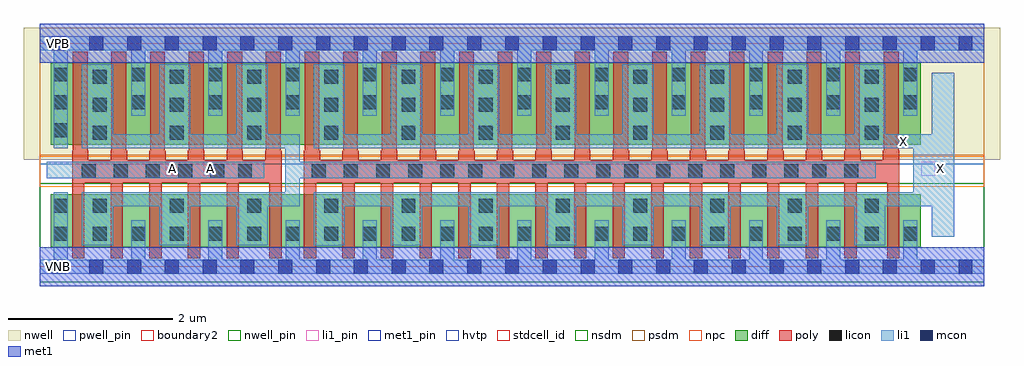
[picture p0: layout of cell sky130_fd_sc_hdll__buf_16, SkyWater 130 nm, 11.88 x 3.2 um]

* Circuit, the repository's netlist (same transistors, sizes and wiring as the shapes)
* Copyright 2020 The SkyWater PDK Authors
*
* Licensed under the Apache License, Version 2.0 (the "License");
* you may not use this file except in compliance with the License.
* You may obtain a copy of the License at
*
*     https://www.apache.org/licenses/LICENSE-2.0
*
* Unless required by applicable law or agreed to in writing, software
* distributed under the License is distributed on an "AS IS" BASIS,
* WITHOUT WARRANTIES OR CONDITIONS OF ANY KIND, either express or implied.
* See the License for the specific language governing permissions and
* limitations under the License.
*
* SPDX-License-Identifier: Apache-2.0

.SUBCKT sky130_fd_sc_hdll__buf_16 A VGND VNB VPB VPWR X
*.PININFO A:I VGND:I VNB:I VPB:I VPWR:I X:O
MMIN1 Ab A VGND VNB sky130_fd_pr__nfet_01v8 m=6 w=0.65U l=0.15U mult=1 sa=0.265
+ sb=0.265 sd=0.28 area=0.063 perim=1.14
MMIN2 X Ab VGND VNB sky130_fd_pr__nfet_01v8 m=16 w=0.65U l=0.15U mult=1 sa=0.265
+ sb=0.265 sd=0.28 area=0.063 perim=1.14
MMIP1 Ab A VPWR VPB sky130_fd_pr__pfet_01v8_hvt m=6 w=1.0U l=0.18U mult=1 sa=0.265
+ sb=0.265 sd=0.28 area=0.063 perim=1.14
MMIP2 X Ab VPWR VPB sky130_fd_pr__pfet_01v8_hvt m=16 w=1.0U l=0.18U mult=1 sa=0.265
+ sb=0.265 sd=0.28 area=0.063 perim=1.14
.ENDS sky130_fd_sc_hdll__buf_16

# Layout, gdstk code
import gdstk
lib = gdstk.Library(unit=1e-6, precision=1e-09)
def R(c, l, rs):  # rectangles x0, y0, x1, y1
    for r in rs: c.add(gdstk.rectangle(r[:2], r[2:], *l))
def A(c, l, x, y, w, h, nx, ny, dx, dy):  # array of equal rectangles
    R(c, l, [(x+i*dx, y+j*dy, x+i*dx+w, y+j*dy+h) for i in range(nx) for j in range(ny)])
def P(c, l, *ps):  # polygons
    for p in ps: c.add(gdstk.Polygon(p, *l))
nwell_pin = (64, 16)
nwell = (64, 20)
diff = (65, 20)
poly = (66, 20)
licon = (66, 44)
li1_pin = (67, 16)
li1 = (67, 20)
mcon = (67, 44)
met1_pin = (68, 16)
met1 = (68, 20)
hvtp = (78, 44)
stdcell_id = (81, 4)
nsdm = (93, 44)
psdm = (94, 20)
npc = (95, 20)
pwell_pin = (122, 16)
boundary2 = (236, 0)

sky130_fd_sc_hdll__buf_1 = lib.new_cell('sky130_fd_sc_hdll__buf_16')
R(sky130_fd_sc_hdll__buf_1, nwell_pin, [(0.15,2.635,0.32,2.805)])
R(sky130_fd_sc_hdll__buf_1, nwell, [(-0.19,1.305,11.69,2.91)])
R(sky130_fd_sc_hdll__buf_1, diff, [(0.135,0.235,10.725,0.885), (0.135,1.485,10.725,2.485)])
P(sky130_fd_sc_hdll__buf_1, poly, [(2.945,1.41),(2.935,1.41),(2.935,2.615),(2.755,2.615),(2.755,1.41),(2.745,1.41),(2.745,1.295),(2.475,1.295),(2.475,1.41),(2.465,1.41),(2.465,2.615),(2.285,2.615),(2.285,1.41),(2.275,1.41),(2.275,1.295),(2.005,1.295),(2.005,1.41),(1.995,1.41),(1.995,2.615),(1.815,2.615),(1.815,1.41),(1.805,1.41),(1.805,1.295),(1.535,1.295),(1.535,1.41),(1.525,1.41),(1.525,2.615),(1.345,2.615),(1.345,1.41),(1.335,1.41),(1.335,1.295),(1.065,1.295),(1.065,1.41),(1.055,1.41),(1.055,2.615),(0.875,2.615),(0.875,1.41),(0.865,1.41),(0.865,1.295),(0.595,1.295),(0.595,1.41),(0.585,1.41),(0.585,2.615),(0.405,2.615),(0.405,1.41),(0.395,1.41),(0.395,0.105),(0.545,0.105),(0.545,1.025),(0.865,1.025),(0.865,0.105),(1.015,0.105),(1.015,1.025),(1.335,1.025),(1.335,0.105),(1.485,0.105),(1.485,1.025),(1.805,1.025),(1.805,0.105),(1.955,0.105),(1.955,1.025),(2.275,1.025),(2.275,0.105),(2.425,0.105),(2.425,1.025),(2.795,1.025),(2.795,0.105),(2.945,0.105)],
  [(10.465,1.41),(10.455,1.41),(10.455,2.615),(10.275,2.615),(10.275,1.41),(10.265,1.41),(10.265,1.295),(9.995,1.295),(9.995,1.41),(9.985,1.41),(9.985,2.615),(9.805,2.615),(9.805,1.41),(9.795,1.41),(9.795,1.295),(9.525,1.295),(9.525,1.41),(9.515,1.41),(9.515,2.615),(9.335,2.615),(9.335,1.41),(9.325,1.41),(9.325,1.295),(9.055,1.295),(9.055,1.41),(9.045,1.41),(9.045,2.615),(8.865,2.615),(8.865,1.41),(8.855,1.41),(8.855,1.295),(8.585,1.295),(8.585,1.41),(8.575,1.41),(8.575,2.615),(8.395,2.615),(8.395,1.41),(8.385,1.41),(8.385,1.295),(8.115,1.295),(8.115,1.41),(8.105,1.41),(8.105,2.615),(7.925,2.615),(7.925,1.41),(7.915,1.41),(7.915,1.295),(7.645,1.295),(7.645,1.41),(7.635,1.41),(7.635,2.615),(7.455,2.615),(7.455,1.41),(7.445,1.41),(7.445,1.295),(7.175,1.295),(7.175,1.41),(7.165,1.41),(7.165,2.615),(6.985,2.615),(6.985,1.41),(6.975,1.41),(6.975,1.295),(6.705,1.295),(6.705,1.41),(6.695,1.41),(6.695,2.615),(6.515,2.615),(6.515,1.41),(6.505,1.41),(6.505,1.295),(6.235,1.295),(6.235,1.41),(6.225,1.41),(6.225,2.615),(6.045,2.615),(6.045,1.41),(6.035,1.41),(6.035,1.295),(5.765,1.295),(5.765,1.41),(5.755,1.41),(5.755,2.615),(5.575,2.615),(5.575,1.41),(5.565,1.41),(5.565,1.295),(5.295,1.295),(5.295,1.41),(5.285,1.41),(5.285,2.615),(5.105,2.615),(5.105,1.41),(5.095,1.41),(5.095,1.295),(4.825,1.295),(4.825,1.41),(4.815,1.41),(4.815,2.615),(4.635,2.615),(4.635,1.41),(4.625,1.41),(4.625,1.295),(4.355,1.295),(4.355,1.41),(4.345,1.41),(4.345,2.615),(4.165,2.615),(4.165,1.41),(4.155,1.41),(4.155,1.295),(3.885,1.295),(3.885,1.41),(3.875,1.41),(3.875,2.615),(3.695,2.615),(3.695,1.41),(3.685,1.41),(3.685,1.295),(3.415,1.295),(3.415,1.41),(3.405,1.41),(3.405,2.615),(3.225,2.615),(3.225,1.41),(3.215,1.41),(3.215,0.105),(3.365,0.105),(3.365,1.025),(3.685,1.025),(3.685,0.105),(3.835,0.105),(3.835,1.025),(4.155,1.025),(4.155,0.105),(4.305,0.105),(4.305,1.025),(4.625,1.025),(4.625,0.105),(4.775,0.105),(4.775,1.025),(5.095,1.025),(5.095,0.105),(5.245,0.105),(5.245,1.025),(5.565,1.025),(5.565,0.105),(5.715,0.105),(5.715,1.025),(6.035,1.025),(6.035,0.105),(6.185,0.105),(6.185,1.025),(6.505,1.025),(6.505,0.105),(6.655,0.105),(6.655,1.025),(6.975,1.025),(6.975,0.105),(7.125,0.105),(7.125,1.025),(7.445,1.025),(7.445,0.105),(7.595,0.105),(7.595,1.025),(7.915,1.025),(7.915,0.105),(8.065,0.105),(8.065,1.025),(8.385,1.025),(8.385,0.105),(8.535,0.105),(8.535,1.025),(8.855,1.025),(8.855,0.105),(9.005,0.105),(9.005,1.025),(9.325,1.025),(9.325,0.105),(9.475,0.105),(9.475,1.025),(9.795,1.025),(9.795,0.105),(9.945,0.105),(9.945,1.025),(10.315,1.025),(10.315,0.105),(10.465,0.105)])
A(sky130_fd_sc_hdll__buf_1, licon, 0.175, 0.315, 0.17, 0.17, 23, 1, 0.47, 0)
A(sky130_fd_sc_hdll__buf_1, licon, 0.645, 0.655, 0.17, 0.17, 11, 2, 0.94, 0.89)
A(sky130_fd_sc_hdll__buf_1, licon, 0.515, 1.075, 0.17, 0.17, 5, 1, 0.39, 0)
A(sky130_fd_sc_hdll__buf_1, licon, 3.315, 1.075, 0.17, 0.17, 5, 1, 0.39, 0)
A(sky130_fd_sc_hdll__buf_1, licon, 5.215, 1.075, 0.17, 0.17, 5, 1, 0.39, 0)
A(sky130_fd_sc_hdll__buf_1, licon, 7.115, 1.075, 0.17, 0.17, 6, 1, 0.39, 0)
A(sky130_fd_sc_hdll__buf_1, licon, 0.645, 1.885, 0.17, 0.17, 11, 2, 0.94, 0.34)
A(sky130_fd_sc_hdll__buf_1, licon, 0.175, 1.915, 0.17, 0.17, 12, 2, 0.94, 0.34)
R(sky130_fd_sc_hdll__buf_1, licon, [(0.175,0.655,0.345,0.825), (2.415,1.075,2.585,1.245), (9.405,1.075,9.575,1.245), (9.795,1.075,9.965,1.245), (0.175,1.575,0.345,1.745)])
R(sky130_fd_sc_hdll__buf_1, li1_pin, [(1.535,1.105,1.705,1.275), (1.995,1.105,2.165,1.275), (10.73,1.105,10.9,1.275), (10.265,1.445,10.435,1.615)])
R(sky130_fd_sc_hdll__buf_1, li1, [(0.085,1.075,2.735,1.275)])
P(sky130_fd_sc_hdll__buf_1, li1, [(11.5,0.085),(10.685,0.085),(10.685,0.565),(10.515,0.565),(10.515,0.085),(9.745,0.085),(9.745,0.565),(9.575,0.565),(9.575,0.085),(8.805,0.085),(8.805,0.565),(8.635,0.565),(8.635,0.085),(7.865,0.085),(7.865,0.565),(7.695,0.565),(7.695,0.085),(6.925,0.085),(6.925,0.565),(6.755,0.565),(6.755,0.085),(5.985,0.085),(5.985,0.565),(5.815,0.565),(5.815,0.085),(5.045,0.085),(5.045,0.565),(4.875,0.565),(4.875,0.085),(4.105,0.085),(4.105,0.565),(3.935,0.565),(3.935,0.085),(3.165,0.085),(3.165,0.565),(2.995,0.565),(2.995,0.085),(2.225,0.085),(2.225,0.565),(2.055,0.565),(2.055,0.085),(1.285,0.085),(1.285,0.565),(1.115,0.565),(1.115,0.085),(0.345,0.085),(0.345,0.905),(0.175,0.905),(0.175,0.085),(0,0.085),(0,-0.085),(11.5,-0.085)],
  [(11.5,2.805),(0,2.805),(0,2.635),(0.175,2.635),(0.175,1.445),(0.345,1.445),(0.345,2.635),(1.115,2.635),(1.115,1.835),(1.285,1.835),(1.285,2.635),(2.055,2.635),(2.055,1.835),(2.225,1.835),(2.225,2.635),(2.995,2.635),(2.995,1.835),(3.165,1.835),(3.165,2.635),(3.935,2.635),(3.935,1.835),(4.105,1.835),(4.105,2.635),(4.875,2.635),(4.875,1.835),(5.045,1.835),(5.045,2.635),(5.815,2.635),(5.815,1.835),(5.985,1.835),(5.985,2.635),(6.755,2.635),(6.755,1.835),(6.925,1.835),(6.925,2.635),(7.695,2.635),(7.695,1.835),(7.865,1.835),(7.865,2.635),(8.635,2.635),(8.635,1.835),(8.805,1.835),(8.805,2.635),(9.575,2.635),(9.575,1.835),(9.745,1.835),(9.745,2.635),(10.515,2.635),(10.515,1.835),(10.685,1.835),(10.685,2.635),(11.5,2.635)],
  [(10.175,1.275),(3.165,1.275),(3.165,1.615),(2.775,1.615),(2.775,2.465),(2.395,2.465),(2.395,1.615),(1.835,1.615),(1.835,2.465),(1.455,2.465),(1.455,1.615),(0.895,1.615),(0.895,2.465),(0.515,2.465),(0.515,1.445),(2.99,1.445),(2.99,0.905),(0.515,0.905),(0.515,0.26),(0.895,0.26),(0.895,0.735),(1.455,0.735),(1.455,0.26),(1.835,0.26),(1.835,0.735),(2.395,0.735),(2.395,0.26),(2.775,0.26),(2.775,0.735),(3.165,0.735),(3.165,1.075),(10.175,1.075)],
  [(11.135,2.36),(10.86,2.36),(10.86,1.615),(10.295,1.615),(10.295,2.465),(9.915,2.465),(9.915,1.615),(9.355,1.615),(9.355,2.465),(8.975,2.465),(8.975,1.615),(8.415,1.615),(8.415,2.465),(8.035,2.465),(8.035,1.615),(7.475,1.615),(7.475,2.465),(7.095,2.465),(7.095,1.615),(6.535,1.615),(6.535,2.465),(6.155,2.465),(6.155,1.615),(5.595,1.615),(5.595,2.465),(5.215,2.465),(5.215,1.615),(4.655,1.615),(4.655,2.465),(4.275,2.465),(4.275,1.615),(3.715,1.615),(3.715,2.465),(3.335,2.465),(3.335,1.445),(10.635,1.445),(10.635,0.905),(3.335,0.905),(3.335,0.255),(3.635,0.255),(3.635,0.26),(3.715,0.26),(3.715,0.735),(4.275,0.735),(4.275,0.26),(4.405,0.26),(4.405,0.255),(4.575,0.255),(4.575,0.26),(4.655,0.26),(4.655,0.735),(5.215,0.735),(5.215,0.26),(5.345,0.26),(5.345,0.255),(5.515,0.255),(5.515,0.26),(5.595,0.26),(5.595,0.735),(6.155,0.735),(6.155,0.26),(6.535,0.26),(6.535,0.735),(7.095,0.735),(7.095,0.26),(7.475,0.26),(7.475,0.735),(8.035,0.735),(8.035,0.26),(8.415,0.26),(8.415,0.735),(8.975,0.735),(8.975,0.26),(9.355,0.26),(9.355,0.735),(9.915,0.735),(9.915,0.26),(10.295,0.26),(10.295,0.735),(10.86,0.735),(10.86,0.365),(11.135,0.365)])
A(sky130_fd_sc_hdll__buf_1, mcon, 0.145, -0.085, 0.17, 0.17, 25, 2, 0.46, 2.72)
R(sky130_fd_sc_hdll__buf_1, met1_pin, [(0.15,-0.085,0.32,0.085), (0.15,2.635,0.32,2.805)])
R(sky130_fd_sc_hdll__buf_1, met1, [(0,-0.24,11.5,0.24), (0,2.48,11.5,2.96)])
R(sky130_fd_sc_hdll__buf_1, hvtp, [(0,1.25,11.5,2.72)])
R(sky130_fd_sc_hdll__buf_1, stdcell_id, [(0,0,11.5,2.72)])
R(sky130_fd_sc_hdll__buf_1, nsdm, [(0,-0.19,11.5,1.015)])
R(sky130_fd_sc_hdll__buf_1, psdm, [(0,1.355,11.5,2.91)])
R(sky130_fd_sc_hdll__buf_1, npc, [(0,0.975,11.5,1.345)])
R(sky130_fd_sc_hdll__buf_1, pwell_pin, [(0.15,-0.085,0.32,0.085)])
R(sky130_fd_sc_hdll__buf_1, boundary2, [(0,0,11.5,2.72)])
sky130_fd_sc_hdll__buf_1.add(gdstk.Label('A', (2.075,1.19), layer=67, texttype=5))
sky130_fd_sc_hdll__buf_1.add(gdstk.Label('A', (1.615,1.19), layer=67, texttype=5))
sky130_fd_sc_hdll__buf_1.add(gdstk.Label('X', (10.965,1.19), layer=67, texttype=5))
sky130_fd_sc_hdll__buf_1.add(gdstk.Label('X', (10.52,1.53), layer=67, texttype=5))
sky130_fd_sc_hdll__buf_1.add(gdstk.Label('VNB', (0.235,0), layer=64, texttype=59))
sky130_fd_sc_hdll__buf_1.add(gdstk.Label('VPB', (0.235,2.72), layer=64, texttype=5))
sky130_fd_sc_hdll__buf_1.add(gdstk.Label('VGND', (0.23,0), layer=68, texttype=5))
sky130_fd_sc_hdll__buf_1.add(gdstk.Label('VPWR', (0.23,2.72), layer=68, texttype=5))
sky130_fd_sc_hdll__buf_1.add(gdstk.Label('buf_16', (0,0), layer=83, texttype=44))

lib.write_gds('sky130_fd_sc_hdll__buf_16.gds')
